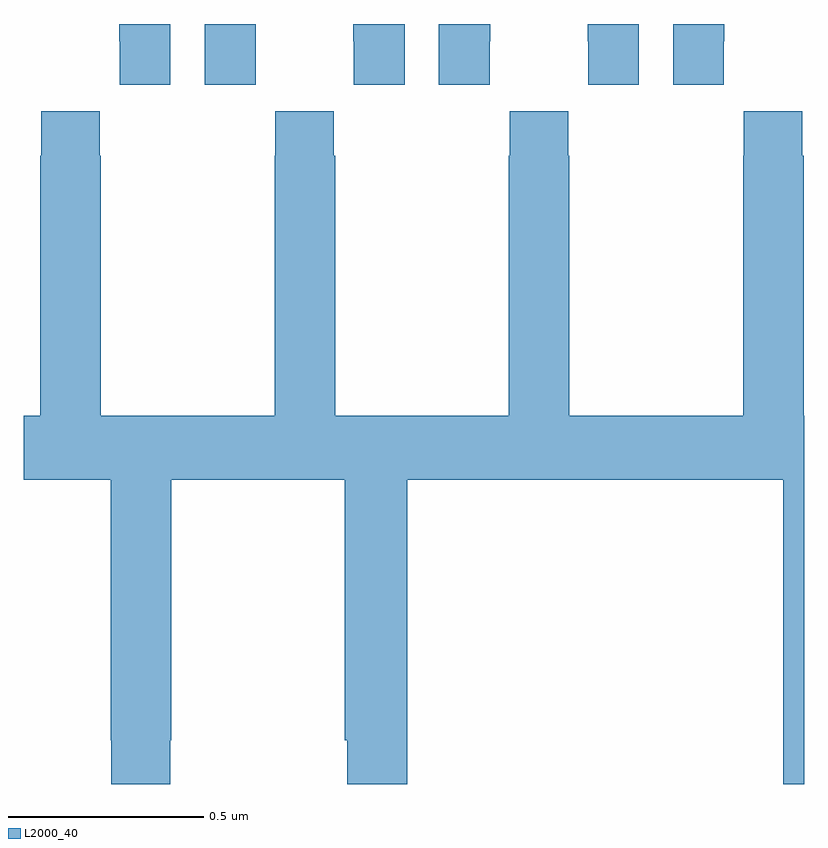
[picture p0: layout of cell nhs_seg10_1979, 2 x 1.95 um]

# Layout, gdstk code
import gdstk
lib = gdstk.Library(unit=1e-6, precision=1e-09)
def P(c, l, *ps):  # polygons
    for p in ps: c.add(gdstk.Polygon(p, *l))
L2000_40 = (2000, 40)

nhs_seg10_1979 = lib.new_cell('nhs_seg10_1979')
P(nhs_seg10_1979, L2000_40, [(135.376,1285.5),(135.245,1285.5),(135.245,1285.456),(135.246,1285.456),(135.246,1285.344),(135.376,1285.344)],
  [(135.594,1285.456),(135.595,1285.456),(135.595,1285.5),(135.464,1285.5),(135.464,1285.344),(135.594,1285.344)],
  [(135.976,1285.5),(135.845,1285.5),(135.845,1285.456),(135.846,1285.456),(135.846,1285.344),(135.976,1285.344)],
  [(136.194,1285.456),(136.195,1285.456),(136.195,1285.5),(136.064,1285.5),(136.064,1285.344),(136.194,1285.344)],
  [(136.576,1285.5),(136.445,1285.5),(136.445,1285.456),(136.446,1285.456),(136.446,1285.344),(136.576,1285.344)],
  [(136.794,1285.456),(136.795,1285.456),(136.795,1285.5),(136.664,1285.5),(136.664,1285.344),(136.794,1285.344)],
  [(135.223,1283.665),(135.225,1283.665),(135.225,1283.553),(135.375,1283.553),(135.375,1283.665),(135.378,1283.665),(135.378,1284.332),(135.823,1284.332),(135.823,1283.665),(135.829,1283.665),(135.829,1283.553),(135.983,1283.553),(135.983,1284.332),(136.946,1284.332),(136.946,1283.553),(137,1283.553),(137,1284.496),(136.998,1284.496),(136.998,1285.163),(136.995,1285.163),(136.995,1285.276),(136.845,1285.276),(136.845,1285.163),(136.843,1285.163),(136.843,1284.496),(136.398,1284.496),(136.398,1285.163),(136.395,1285.163),(136.395,1285.276),(136.245,1285.276),(136.245,1285.163),(136.243,1285.163),(136.243,1284.496),(135.798,1284.496),(135.798,1285.163),(135.795,1285.163),(135.795,1285.276),(135.645,1285.276),(135.645,1285.163),(135.643,1285.163),(135.643,1284.496),(135.198,1284.496),(135.198,1285.163),(135.195,1285.163),(135.195,1285.276),(135.045,1285.276),(135.045,1285.163),(135.043,1285.163),(135.043,1284.496),(135,1284.496),(135,1284.332),(135.223,1284.332)])

lib.write_gds('nhs_seg10_1979.gds')
